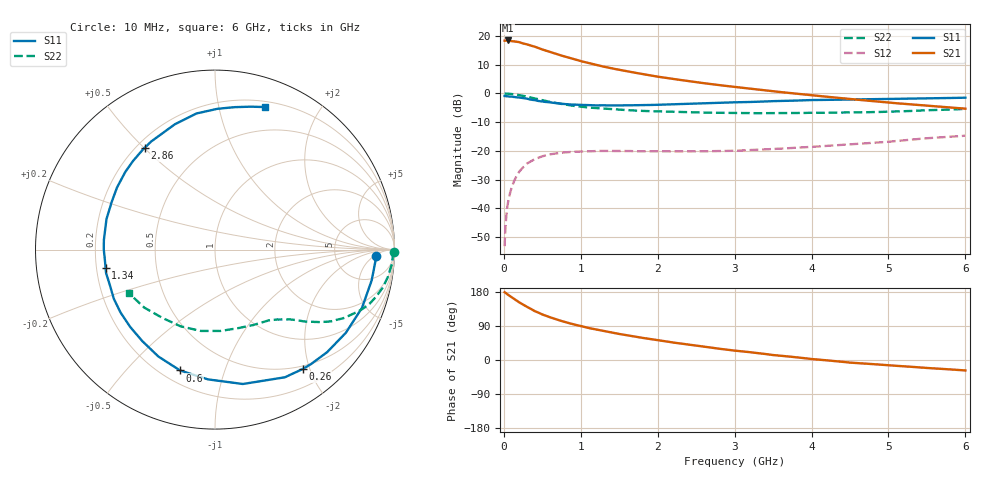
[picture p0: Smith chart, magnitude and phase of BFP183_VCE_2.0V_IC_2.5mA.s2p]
! Infineon Technologies  Discrete & RF Semiconductors
! BFP183
! VCE = 2.0 V,  IC =  2.5 mA
! Common Emitter S-Parameters:  Jan 2016
# GHz  S  MA  R  50
!  f  S11  S21  S12  S22
! GHz  MAG  ANG  MAG  ANG  MAG  ANG  MAG  ANG
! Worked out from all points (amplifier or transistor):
!   210 points, 10 MHz to 6 GHz, reference 50 ohm
!   highest |S21| = 18.4 dB at 50 MHz (marker M1)
!   |S21| within 3 dB of that: start of sweep to 485.4 MHz
!   unconditionally stable (mu >= 1): 1.936 GHz to 5.879 GHz
!   at 185 MHz: K = 0.11, MSG = 22.9 dB, |S12| = -27.9 dB
!   at 1.52 GHz: K = 0.79, MSG = 14.1 dB, |S12| = -20.0 dB
!   at 6 GHz: K = 0.97, MSG = 4.7 dB, |S12| = -14.7 dB
!   S11 on the Smith chart (normalised r, x): 10 MHz: 17, -6; 260 MHz: 0.45, -1.89; 600 MHz: 0.27, -0.72; 1.34 GHz: 0.24, -0.08; 2.86 GHz: 0.23, +0.50; 6 GHz: 0.25, +1.38
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0.01  0.8998 -2.3  8.262 178.8  0.0022 89.7  0.9978 -0.8
0.025  0.894 -5.5  8.296 176.9  0.0056 84.7  0.9907 -2.1
0.05  0.8896 -11.1  8.331 172.8  0.0117 85.4  0.9899 -4.3
0.15  0.864 -32.4  7.984 158.7  0.0334 72.3  0.9593 -12.6
0.2  0.8467 -42.4  7.787 152.1  0.0434 66.8  0.935 -16.3
0.26  0.8255 -53.7  7.331 144.8  0.0534 60.6  0.9017 -20.4
0.3  0.811 -61.3  7.135 140.4  0.0601 57.0  0.8769 -22.7
0.4  0.7647 -78.3  6.507 129.2  0.0716 49.2  0.8152 -27.8
0.5  0.7241 -93.1  5.805 120.2  0.0805 42.1  0.7591 -31.8
0.6  0.7009 -106.1  5.272 112.7  0.0871 36.8  0.7121 -34.6
0.7  0.6741 -117.9  4.74 105.9  0.0911 32.5  0.6714 -36.8
0.8  0.6512 -128.4  4.356 99.7  0.0944 28.8  0.6389 -38.8
1.02  0.6302 -147.9  3.589 88.4  0.0977 23.1  0.5824 -42.1
1.12  0.6242 -155.6  3.327 83.7  0.0989 21.1  0.5651 -43.5
1.34  0.6179 -170.3  2.838 75.0  0.0999 17.6  0.5382 -46.3
1.62  0.6211 173.9  2.399 64.6  0.0996 15.2  0.5111 -50.0
2.02  0.6342 154.8  1.936 51.7  0.0985 14.5  0.4856 -55.9
2.86  0.6894 124.6  1.363 28.3  0.0997 17.4  0.4578 -71.9
3.1  0.7034 117.9  1.253 22.8  0.1018 18.8  0.4535 -77.3
4.1  0.7679 95.9  0.901 0.9  0.1197 23.3  0.4594 -102.8
5.1  0.8041 81.0  0.675 -15.3  0.1484 24.4  0.4841 -130.3
6  0.841 70.8  0.542 -27.6  0.1835 18.8  0.5376 -153.1
